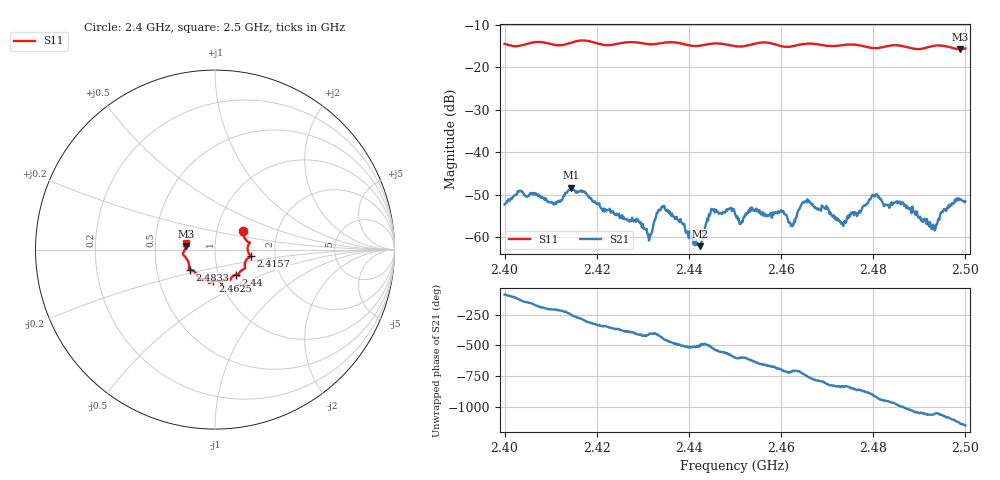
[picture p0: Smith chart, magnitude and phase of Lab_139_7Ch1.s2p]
# Hz S RI R 50
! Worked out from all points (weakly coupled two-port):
!   601 points, 2.4 GHz to 2.5 GHz, reference 50 ohm
!   highest |S21| = -48.28 dB at 2.4143 GHz (marker M1); lowest = -62.1 dB at 2.4423 GHz (marker M2)
!   lowest |S11| = -15.7 dB at 2.4988 GHz (marker M3), VSWR 1.39, Z = 36 + j1.39 ohm
!   |S11| at or under -10 dB: start of sweep to end of sweep
!   S12 and S22 are empty: the file has one direction only
!   S11 on the Smith chart (normalised r, x): 2.4 GHz: 1.34, +0.29; 2.4157 GHz: 1.49, -0.12; 2.44 GHz: 1.21, -0.35; 2.4625 GHz: 0.92, -0.34; 2.4833 GHz: 0.74, -0.17; 2.5 GHz: 0.72, +0.06
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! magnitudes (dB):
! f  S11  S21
! 2.4 GHz  -14.5  -52.2
! 2.4033 GHz  -14.9  -49.0
! 2.411 GHz  -14.8  -51.8
! 2.4143 GHz  -14.3  -48.3
! 2.4157 GHz  -13.8  -49.1
! 2.4167 GHz  -13.7  -48.9
! 2.4315 GHz  -14.6  -60.1
! 2.4333 GHz  -14.4  -53.7
! 2.44 GHz  -14.8  -60.2
! 2.4423 GHz  -14.9  -62.1
! 2.445 GHz  -14.4  -53.3
! 2.45 GHz  -15.0  -54.4
! 2.4602 GHz  -15.1  -53.9
! 2.4625 GHz  -15.0  -57.3
! 2.4647 GHz  -14.6  -51.8
! 2.4667 GHz  -14.4  -52.3
! 2.4735 GHz  -14.8  -57.3
! 2.4802 GHz  -15.5  -50.1
! 2.4833 GHz  -15.0  -52.3
! 2.493 GHz  -15.0  -57.0
! 2.4988 GHz  -15.7  -51.2
! 2.5 GHz  -15.6  -51.5
